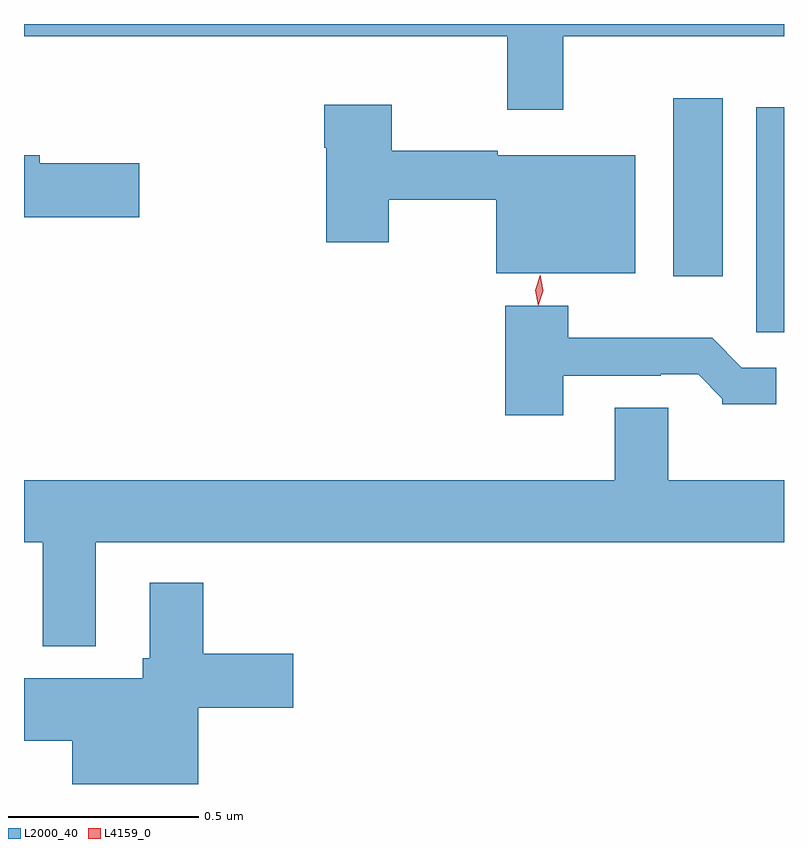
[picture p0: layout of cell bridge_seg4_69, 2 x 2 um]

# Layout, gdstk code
import gdstk
lib = gdstk.Library(unit=1e-6, precision=1e-09)
def R(c, l, rs):  # rectangles x0, y0, x1, y1
    for r in rs: c.add(gdstk.rectangle(r[:2], r[2:], *l))
def P(c, l, *ps):  # polygons
    for p in ps: c.add(gdstk.Polygon(p, *l))
L2000_40 = (2000, 40)
L4159_0 = (4159, 0)

bridge_seg4_69 = lib.new_cell('bridge_seg4_69')
R(bridge_seg4_69, L2000_40, [(770.531,768.069,770.604,768.661), (770.312,768.216,770.443,768.685)])
P(bridge_seg4_69, L2000_40, [(770.023,768.848),(770.604,768.848),(770.604,768.88),(768.604,768.88),(768.604,768.848),(769.876,768.848),(769.876,768.654),(770.023,768.654)],
  [(770.212,768.535),(769.851,768.535),(769.851,768.547),(769.572,768.547),(769.572,768.667),(769.394,768.667),(769.394,768.554),(769.399,768.554),(769.399,768.306),(769.564,768.306),(769.564,768.418),(769.847,768.418),(769.847,768.224),(770.212,768.224)],
  [(768.907,768.513),(768.646,768.513),(768.646,768.534),(768.604,768.534),(768.604,768.371),(768.907,768.371)],
  [(770.023,767.955),(770.279,767.955),(770.279,767.958),(770.378,767.958),(770.442,767.894),(770.442,767.879),(770.584,767.879),(770.584,767.976),(770.493,767.976),(770.415,768.055),(770.036,768.055),(770.036,768.139),(769.871,768.139),(769.871,767.85),(770.023,767.85)],
  [(770.159,767.87),(770.159,767.68),(768.604,767.68),(768.604,767.516),(768.653,767.516),(768.653,767.243),(768.793,767.243),(768.793,767.516),(770.604,767.516),(770.604,767.68),(770.299,767.68),(770.299,767.87)],
  [(769.063,767.081),(769.312,767.081),(769.312,767.223),(769.076,767.223),(769.076,767.41),(768.935,767.41),(768.935,767.211),(768.916,767.211),(768.916,767.158),(768.604,767.158),(768.604,766.994),(768.731,766.994),(768.731,766.88),(769.063,766.88)])
P(bridge_seg4_69, L4159_0, [(769.957,768.138),(769.957,768.138),(769.95,768.18),(769.962,768.22),(769.962,768.22),(769.962,768.22),(769.97,768.178),(769.957,768.138)])

lib.write_gds('bridge_seg4_69.gds')
